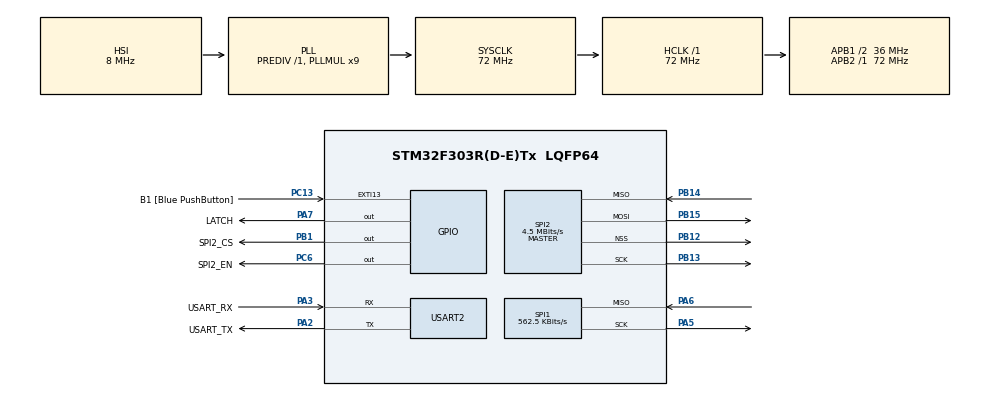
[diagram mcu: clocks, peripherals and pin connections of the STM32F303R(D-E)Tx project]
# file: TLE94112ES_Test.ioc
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Mcu.Family=STM32F3
Mcu.Name=STM32F303R(D-E)Tx
Mcu.Package=LQFP64
NVIC.PriorityGroup=NVIC_PRIORITYGROUP_0
NVIC.SPI2_IRQn=true\:0\:0\:false\:false\:true\:true\:true
PA13.GPIO_Label=TMS
PA13.Mode=JTAG_5_pins
PA13.Signal=SYS_JTMS-SWDIO
PA14.GPIO_Label=TCK
PA14.Mode=JTAG_5_pins
PA14.Signal=SYS_JTCK-SWCLK
PA15.Mode=JTAG_5_pins
PA15.Signal=SYS_JTDI
PA2.GPIO_Label=USART_TX
PA2.GPIO_Mode=GPIO_MODE_AF_PP
PA2.GPIO_PuPd=GPIO_NOPULL
PA2.GPIO_Speed=GPIO_SPEED_FREQ_LOW
PA2.Mode=Asynchronous
PA2.Signal=USART2_TX
PA3.GPIO_Label=USART_RX
PA3.GPIO_Mode=GPIO_MODE_AF_PP
PA3.GPIO_PuPd=GPIO_NOPULL
PA3.GPIO_Speed=GPIO_SPEED_FREQ_LOW
PA3.Mode=Asynchronous
PA3.Signal=USART2_RX
PA5.Mode=RX_Only_Simplex_Unidirect_Master
PA5.Signal=SPI1_SCK
PA6.Mode=RX_Only_Simplex_Unidirect_Master
PA6.Signal=SPI1_MISO
PA7.GPIO_Label=LATCH
PA7.GPIO_PuPd=GPIO_PULLDOWN
PA7.GPIO_Speed=GPIO_SPEED_FREQ_MEDIUM
PA7.Signal=GPIO_Output
PB1.GPIO_Label=SPI2_CS
PB1.GPIO_Speed=GPIO_SPEED_FREQ_HIGH
PB1.PinState=GPIO_PIN_RESET
PB1.Signal=GPIO_Output
PB12.Mode=NSS_Signal_Hard_Output
PB12.Signal=SPI2_NSS
PB13.Mode=Full_Duplex_Master
PB13.Signal=SPI2_SCK
PB14.Mode=Full_Duplex_Master
PB14.Signal=SPI2_MISO
PB15.Mode=Full_Duplex_Master
PB15.Signal=SPI2_MOSI
PB3.GPIO_Label=SWO
PB3.Mode=JTAG_5_pins
PB3.Signal=SYS_JTDO-TRACESWO
PB4.Mode=JTAG_5_pins
PB4.Signal=SYS_NJTRST
PC13.GPIO_Label=B1 [Blue PushButton]
PC13.GPIO_ModeDefaultEXTI=GPIO_MODE_IT_FALLING
PC13.Signal=GPXTI13
PC14-OSC32_IN.Signal=RCC_OSC32_IN
PC15-OSC32_OUT.Signal=RCC_OSC32_OUT
PC6.GPIO_Label=SPI2_EN
PC6.Signal=GPIO_Output
PF0-OSC_IN.Mode=HSE-External-Oscillator
PF0-OSC_IN.Signal=RCC_OSC_IN
PF1-OSC_OUT.Mode=HSE-External-Oscillator
PF1-OSC_OUT.Signal=RCC_OSC_OUT
ProjectManager.HeapSize=0x200
ProjectManager.StackSize=0x400
ProjectManager.TargetToolchain=STM32CubeIDE
RCC.AHBFreq_Value=72000000
RCC.APB1CLKDivider=RCC_HCLK_DIV2
RCC.APB1Freq_Value=36000000
RCC.APB1TimFreq_Value=72000000
RCC.APB2Freq_Value=72000000
RCC.APB2TimFreq_Value=72000000
RCC.CortexFreq_Value=72000000
RCC.HCLKFreq_Value=72000000
RCC.HSE_VALUE=16000000
RCC.HSI_VALUE=8000000
RCC.LSE_VALUE=32768
RCC.PLLM=8
RCC.PLLMUL=RCC_PLL_MUL9
RCC.PLLN=336
RCC.PLLP=RCC_PLLP_DIV4
RCC.PLLQ=7
RCC.RCC_PLLsource_Clock_Source_FROM_HSE=RCC_HSE_PREDIV_DIV2
RCC.SYSCLKFreq_VALUE=72000000
RCC.SYSCLKSourceVirtual=RCC_SYSCLKSOURCE_PLLCLK
RCC.USBFreq_Value=72000000
SPI1.BaudRatePrescaler=SPI_BAUDRATEPRESCALER_128
SPI1.CalculateBaudRate=562.5 KBits/s
SPI1.DataSize=SPI_DATASIZE_8BIT
SPI1.Direction=SPI_DIRECTION_2LINES_RXONLY
SPI1.Mode=SPI_MODE_MASTER
SPI1.TIMode=SPI_TIMODE_DISABLE
SPI1.VirtualType=VM_MASTER
SPI2.BaudRatePrescaler=SPI_BAUDRATEPRESCALER_8
SPI2.CLKPhase=SPI_PHASE_2EDGE
SPI2.CLKPolarity=SPI_POLARITY_LOW
SPI2.CalculateBaudRate=4.5 MBits/s
SPI2.DataSize=SPI_DATASIZE_16BIT
SPI2.Direction=SPI_DIRECTION_2LINES
SPI2.FirstBit=SPI_FIRSTBIT_LSB
SPI2.Mode=SPI_MODE_MASTER
SPI2.TIMode=SPI_TIMODE_DISABLE
SPI2.VirtualNSS=VM_NSSHARD
SPI2.VirtualType=VM_MASTER
USART2.VirtualMode-Asynchronous=VM_ASYNC
board=NUCLEO-F303RE

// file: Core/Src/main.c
/* USER CODE BEGIN Header */
/**
  ******************************************************************************
  * @file           : main.c
  * @brief          : Main program body
  ******************************************************************************
  * @attention
  *
  * <h2><center>&copy; Copyright (c) 2021 STMicroelectronics.
  * All rights reserved.</center></h2>
  *
  * This software component is licensed by ST under BSD 3-Clause license,
  * the "License"; You may not use this file except in compliance with the
  * License. You may obtain a copy of the License at:
  *                        opensource.org/licenses/BSD-3-Clause
  *
  ******************************************************************************
  */
/* USER CODE END Header */
#include "main.h"
#include "spi.h"
#include "usart.h"
#include "gpio.h"

/* USER CODE BEGIN Includes */
#include "TLE94112ES.h"

/* USER CODE END Includes */

/* USER CODE BEGIN PD */
#define NO_OF_CHIPS	1
#define PULSELENGTH 10

/* USER CODE END PD */

/* USER CODE BEGIN PV */
	int pause = 1000 - PULSELENGTH;
	uint8_t TXBuf[NO_OF_CHIPS * 2];
	uint8_t RXBuf[NO_OF_CHIPS * 2];
	Message Messages[NO_OF_CHIPS];

	uint8_t controllerData = 0;
/* USER CODE END PV */

void SystemClock_Config(void);

int main(void)
{
  /* USER CODE BEGIN 1 */
	HAL_GPIO_WritePin(SPI2_EN_GPIO_Port, SPI2_EN_Pin, 1);
	HAL_GPIO_WritePin(SPI2_CS_GPIO_Port, SPI2_CS_Pin, 1);
	HAL_GPIO_WritePin(LATCH_GPIO_Port, LATCH_Pin, 0);

  /* USER CODE END 1 */

  /* MCU Configuration--------------------------------------------------------*/

  /* Reset of all peripherals, Initializes the Flash interface and the Systick. */
  HAL_Init();

  /* Configure the system clock */
  SystemClock_Config();

  /* Initialize all configured peripherals */
  MX_GPIO_Init();
  MX_USART2_UART_Init();
  MX_SPI2_Init();
  MX_SPI1_Init();

  /* Infinite loop */
  /* USER CODE BEGIN WHILE */
  while (1)
  {

//		HAL_GPIO_WritePin(LATCH_GPIO_Port, LATCH_Pin, 0);
//		HAL_Delay(0);
//		HAL_GPIO_WritePin(LATCH_GPIO_Port, LATCH_Pin, 1);
//		HAL_Delay(0);
//		HAL_GPIO_WritePin(LATCH_GPIO_Port, LATCH_Pin, 0);
//
//
		HAL_SPI_Receive(&hspi1, &controllerData, 1, HAL_MAX_DELAY);
//		HAL_Delay(0);

	  Messages[0].RegisterAdress 	= HB_ACT_3_CTRL;
	  Messages[0].Data 				= HB10_HS_EN | HB11_LS_EN;
	  Messages[0].WriteClear 		= WRITE;

	  TLE94112ES_ConstructTXBuffer(TXBuf, NO_OF_CHIPS, Messages);
	  HAL_GPIO_WritePin(SPI2_CS_GPIO_Port, SPI2_CS_Pin, 0);
	  HAL_SPI_TransmitReceive(&hspi2, TXBuf, RXBuf, NO_OF_CHIPS * 2, HAL_MAX_DELAY);
	  HAL_GPIO_WritePin(SPI2_CS_GPIO_Port, SPI2_CS_Pin, 1);
	  TLE94112ES_DeconstructRXBuffer(RXBuf, NO_OF_CHIPS, Messages);

	  HAL_Delay(PULSELENGTH);

	  Messages[0].RegisterAdress 	= HB_ACT_3_CTRL;
	  Messages[0].Data 				= 0x00;
	  Messages[0].WriteClear 		= WRITE;

	  TLE94112ES_ConstructTXBuffer(TXBuf, NO_OF_CHIPS, Messages);
	  HAL_GPIO_WritePin(SPI2_CS_GPIO_Port, SPI2_CS_Pin, 0);
	  HAL_SPI_TransmitReceive(&hspi2, TXBuf, RXBuf, NO_OF_CHIPS * 2, HAL_MAX_DELAY);
	  HAL_GPIO_WritePin(SPI2_CS_GPIO_Port, SPI2_CS_Pin, 1);
	  TLE94112ES_DeconstructRXBuffer(RXBuf, NO_OF_CHIPS, Messages);

	  HAL_Delay(pause);

	  Messages[0].RegisterAdress 	= HB_ACT_3_CTRL;
	  Messages[0].Data 				= HB10_LS_EN | HB12_HS_EN;
	  Messages[0].WriteClear 		= WRITE;

	  TLE94112ES_ConstructTXBuffer(TXBuf, NO_OF_CHIPS, Messages);
	  HAL_GPIO_WritePin(SPI2_CS_GPIO_Port, SPI2_CS_Pin, 0);
	  HAL_SPI_TransmitReceive(&hspi2, TXBuf, RXBuf, NO_OF_CHIPS * 2, HAL_MAX_DELAY);
	  HAL_GPIO_WritePin(SPI2_CS_GPIO_Port, SPI2_CS_Pin, 1);
	  TLE94112ES_DeconstructRXBuffer(RXBuf, NO_OF_CHIPS, Messages);

	  HAL_Delay(PULSELENGTH);

	  Messages[0].RegisterAdress 	= HB_ACT_3_CTRL;
	  Messages[0].Data 				= 0x00;
	  Messages[0].WriteClear 		= WRITE;

	  TLE94112ES_ConstructTXBuffer(TXBuf, NO_OF_CHIPS, Messages);
	  HAL_GPIO_WritePin(SPI2_CS_GPIO_Port, SPI2_CS_Pin, 0);
	  HAL_SPI_TransmitReceive(&hspi2, TXBuf, RXBuf, NO_OF_CHIPS * 2, HAL_MAX_DELAY);
	  HAL_GPIO_WritePin(SPI2_CS_GPIO_Port, SPI2_CS_Pin, 1);
	  TLE94112ES_DeconstructRXBuffer(RXBuf, NO_OF_CHIPS, Messages);

	  HAL_Delay(pause);

    /* USER CODE END WHILE */

  }
}

void SystemClock_Config(void)
{
  RCC_OscInitTypeDef RCC_OscInitStruct = {0};
  RCC_ClkInitTypeDef RCC_ClkInitStruct = {0};
  RCC_PeriphCLKInitTypeDef PeriphClkInit = {0};

  /** Initializes the RCC Oscillators according to the specified parameters
  * in the RCC_OscInitTypeDef structure.
  */
  RCC_OscInitStruct.OscillatorType = RCC_OSCILLATORTYPE_HSI;
  RCC_OscInitStruct.HSIState = RCC_HSI_ON;
  RCC_OscInitStruct.HSICalibrationValue = RCC_HSICALIBRATION_DEFAULT;
  RCC_OscInitStruct.PLL.PLLState = RCC_PLL_ON;
  RCC_OscInitStruct.PLL.PLLSource = RCC_PLLSOURCE_HSI;
  RCC_OscInitStruct.PLL.PLLMUL = RCC_PLL_MUL9;
  RCC_OscInitStruct.PLL.PREDIV = RCC_PREDIV_DIV1;
  if (HAL_RCC_OscConfig(&RCC_OscInitStruct) != HAL_OK)
  {
    Error_Handler();
  }
  /** Initializes the CPU, AHB and APB buses clocks
  */
  RCC_ClkInitStruct.ClockType = RCC_CLOCKTYPE_HCLK|RCC_CLOCKTYPE_SYSCLK
                              |RCC_CLOCKTYPE_PCLK1|RCC_CLOCKTYPE_PCLK2;
  RCC_ClkInitStruct.SYSCLKSource = RCC_SYSCLKSOURCE_PLLCLK;
  RCC_ClkInitStruct.AHBCLKDivider = RCC_SYSCLK_DIV1;
  RCC_ClkInitStruct.APB1CLKDivider = RCC_HCLK_DIV2;
  RCC_ClkInitStruct.APB2CLKDivider = RCC_HCLK_DIV1;

  if (HAL_RCC_ClockConfig(&RCC_ClkInitStruct, FLASH_LATENCY_2) != HAL_OK)
  {
    Error_Handler();
  }
  PeriphClkInit.PeriphClockSelection = RCC_PERIPHCLK_USART2;
  PeriphClkInit.Usart2ClockSelection = RCC_USART2CLKSOURCE_PCLK1;
  if (HAL_RCCEx_PeriphCLKConfig(&PeriphClkInit) != HAL_OK)
  {
    Error_Handler();
  }
}

void Error_Handler(void)
{
  __disable_irq();
  while (1)
  {
  }
}
